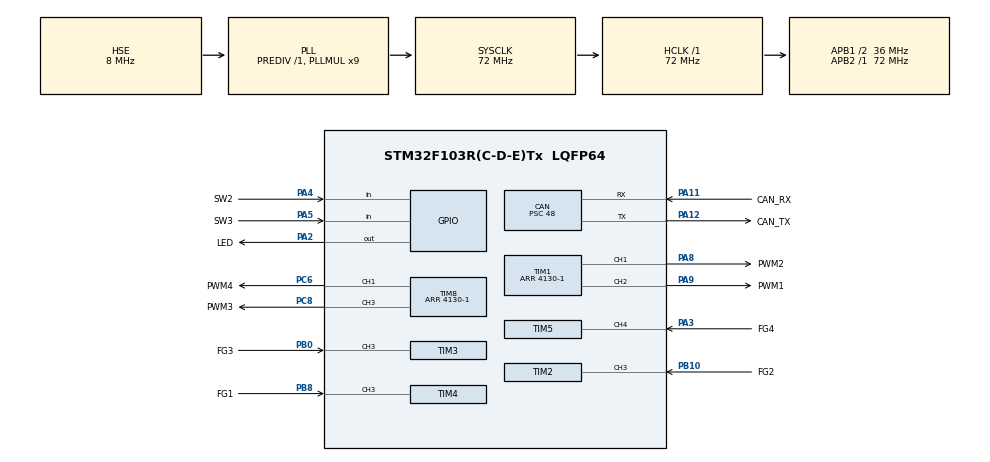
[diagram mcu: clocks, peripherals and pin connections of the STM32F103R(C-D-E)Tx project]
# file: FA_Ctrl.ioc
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CAN.BS1=CAN_BS1_2TQ
CAN.BS2=CAN_BS2_3TQ
CAN.CalculateBaudRate=124999
CAN.CalculateTimeBit=8000
CAN.CalculateTimeQuantum=1333.3333333333335
CAN.Prescaler=48
CAN.SJW=CAN_SJW_2TQ
CAN.TXFP=DISABLE
Mcu.Family=STM32F1
Mcu.Name=STM32F103R(C-D-E)Tx
Mcu.Package=LQFP64
NVIC.PriorityGroup=NVIC_PRIORITYGROUP_3
NVIC.TIM2_IRQn=true\:1\:0\:true\:false\:true\:true\:false\:true
NVIC.TIM3_IRQn=true\:1\:0\:true\:false\:true\:true\:false\:true
NVIC.TIM4_IRQn=true\:1\:0\:true\:false\:true\:true\:false\:true
NVIC.TIM5_IRQn=true\:1\:0\:true\:false\:true\:true\:false\:true
NVIC.TIM6_IRQn=true\:2\:0\:true\:false\:true\:true\:false\:true
PA11.GPIO_Label=CAN_RX
PA11.Mode=CAN_Activate
PA11.Signal=CAN_RX
PA12.GPIO_Label=CAN_TX
PA12.Mode=CAN_Activate
PA12.Signal=CAN_TX
PA13.Mode=Serial_Wire
PA13.Signal=SYS_JTMS-SWDIO
PA14.Mode=Serial_Wire
PA14.Signal=SYS_JTCK-SWCLK
PA2.GPIO_Label=LED
PA2.GPIO_PuPd=GPIO_PULLUP
PA2.PinState=GPIO_PIN_SET
PA2.Signal=GPIO_Output
PA3.GPIO_Label=FG4
PA3.Signal=S_TIM5_CH4
PA4.GPIO_Label=SW2
PA4.Signal=GPIO_Input
PA5.GPIO_Label=SW3
PA5.Signal=GPIO_Input
PA8.GPIO_Label=PWM2
PA8.GPIO_Speed=GPIO_SPEED_FREQ_HIGH
PA8.Signal=S_TIM1_CH1
PA9.GPIO_Label=PWM1
PA9.GPIO_Speed=GPIO_SPEED_FREQ_HIGH
PA9.Signal=S_TIM1_CH2
PB0.GPIO_Label=FG3
PB0.Signal=S_TIM3_CH3
PB10.GPIO_Label=FG2
PB10.Signal=S_TIM2_CH3
PB8.GPIO_Label=FG1
PB8.Signal=S_TIM4_CH3
PC6.GPIO_Label=PWM4
PC6.GPIO_Speed=GPIO_SPEED_FREQ_HIGH
PC6.Signal=S_TIM8_CH1
PC8.GPIO_Label=PWM3
PC8.GPIO_Speed=GPIO_SPEED_FREQ_HIGH
PC8.Signal=S_TIM8_CH3
PD0-OSC_IN.Mode=HSE-External-Oscillator
PD0-OSC_IN.Signal=RCC_OSC_IN
PD1-OSC_OUT.Mode=HSE-External-Oscillator
PD1-OSC_OUT.Signal=RCC_OSC_OUT
ProjectManager.HeapSize=0x200
ProjectManager.StackSize=0x400
ProjectManager.TargetToolchain=CMake
RCC.AHBFreq_Value=72000000
RCC.APB1CLKDivider=RCC_HCLK_DIV2
RCC.APB1Freq_Value=36000000
RCC.APB1TimFreq_Value=72000000
RCC.APB2Freq_Value=72000000
RCC.APB2TimFreq_Value=72000000
RCC.HCLKFreq_Value=72000000
RCC.PLLMUL=RCC_PLL_MUL9
RCC.PLLSourceVirtual=RCC_PLLSOURCE_HSE
RCC.SYSCLKFreq_VALUE=72000000
RCC.SYSCLKSource=RCC_SYSCLKSOURCE_PLLCLK
RCC.USBFreq_Value=72000000
SH.S_TIM1_CH1.0=TIM1_CH1,PWM Generation1 CH1
SH.S_TIM1_CH2.0=TIM1_CH2,PWM Generation2 CH2
SH.S_TIM2_CH3.0=TIM2_CH3,Input_Capture3_from_TI3
SH.S_TIM3_CH3.0=TIM3_CH3,Input_Capture3_from_TI3
SH.S_TIM4_CH3.0=TIM4_CH3,Input_Capture3_from_TI3
SH.S_TIM5_CH4.0=TIM5_CH4,Input_Capture4_from_TI4
SH.S_TIM8_CH1.0=TIM8_CH1,PWM Generation1 CH1
SH.S_TIM8_CH3.0=TIM8_CH3,PWM Generation3 CH3
TIM1.Channel-PWM\ Generation1\ CH1=TIM_CHANNEL_1
TIM1.Channel-PWM\ Generation2\ CH2=TIM_CHANNEL_2
TIM1.OCFastMode_PWM-PWM\ Generation1\ CH1=TIM_OCFAST_DISABLE
TIM1.OCFastMode_PWM-PWM\ Generation2\ CH2=TIM_OCFAST_DISABLE
TIM1.OCMode_PWM-PWM\ Generation1\ CH1=TIM_OCMODE_PWM2
TIM1.OCMode_PWM-PWM\ Generation2\ CH2=TIM_OCMODE_PWM2
TIM1.Period=4130-1
TIM2.Channel-Input_Capture3_from_TI3=TIM_CHANNEL_3
TIM2.ICFilter_CH3=4
TIM2.Prescaler=6-1
TIM3.Channel-Input_Capture3_from_TI3=TIM_CHANNEL_3
TIM3.ICFilter_CH3=5
TIM3.Prescaler=6-1
TIM4.Channel-Input_Capture3_from_TI3=TIM_CHANNEL_3
TIM4.ICFilter_CH3=5
TIM4.Prescaler=6-1
TIM5.Channel-Input_Capture4_from_TI4=TIM_CHANNEL_4
TIM5.ICFilter_CH4=5
TIM5.Prescaler=6-1
TIM6.AutoReloadPreload=TIM_AUTORELOAD_PRELOAD_ENABLE
TIM6.Period=2000-1
TIM6.Prescaler=7200-1
TIM8.Channel-PWM\ Generation1\ CH1=TIM_CHANNEL_1
TIM8.Channel-PWM\ Generation3\ CH3=TIM_CHANNEL_3
TIM8.OCFastMode_PWM-PWM\ Generation1\ CH1=TIM_OCFAST_DISABLE
TIM8.OCFastMode_PWM-PWM\ Generation3\ CH3=TIM_OCFAST_DISABLE
TIM8.OCMode_PWM-PWM\ Generation1\ CH1=TIM_OCMODE_PWM2
TIM8.OCMode_PWM-PWM\ Generation3\ CH3=TIM_OCMODE_PWM2
TIM8.Period=4130-1
VP_TIM1_VS_ClockSourceINT.Mode=Internal
VP_TIM2_VS_ClockSourceINT.Mode=Internal
VP_TIM3_VS_ClockSourceINT.Mode=Internal
VP_TIM4_VS_ClockSourceINT.Mode=Internal
VP_TIM5_VS_ClockSourceINT.Mode=Internal
VP_TIM6_VS_ClockSourceINT.Mode=Enable_Timer
VP_TIM8_VS_ClockSourceINT.Mode=Internal
board=custom

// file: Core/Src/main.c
/* USER CODE BEGIN Header */
/**
  ******************************************************************************
  * @file           : main.c
  * @brief          : Main program body
  ******************************************************************************
  * @attention
  *
  * Copyright (c) 2025 STMicroelectronics.
  * All rights reserved.
  *
  * This software is licensed under terms that can be found in the LICENSE file
  * in the root directory of this software component.
  * If no LICENSE file comes with this software, it is provided AS-IS.
  *
  ******************************************************************************
  */
/* USER CODE END Header */
#include "main.h"
#include "can.h"
#include "tim.h"
#include "gpio.h"

/* USER CODE BEGIN Includes */
#include "bsp_pid.h"
#include "control.h"
#include "sin_control.h"
#include "save_flash.h"
#include <string.h>
#include "OLED.h"
/* USER CODE END Includes */

/* USER CODE BEGIN PTD */
SysState Sys_State;
SysPara Sys_Para;
CtrlPara Ctrl_Para;
CANPara CAN_Para;
CANData CAN_Data;
TrackCurvePara TrackCurve_Para;
TrackCurveData TrackCurve_Data;
TrackCurveData* TrackCurve_Data_p = &TrackCurve_Data;
PidPara_base pid_para_base;//pid基础参数
bool oled_init = true;//第一次调用或更改模式时，重写oled屏幕背景内容
/* USER CODE END PTD */

void SystemClock_Config(void);
/* USER CODE BEGIN PFP */
static void Para_init(void); //初始化结构体参数
static void key_process_idsetting(uint8_t keystate); //按键扫描与处理函数
static void key_process_motortest(uint8_t keystate); //按键扫描与处理函数
static void key_process_cantest(uint8_t keystate); //按键扫描与处理函数
//void RunMode_Switch(SM_SysRunMode run_mode);//系统运行状态切换
/* USER CODE END PFP */

int main(void)
{

  /* MCU Configuration--------------------------------------------------------*/

  /* Reset of all peripherals, Initializes the Flash interface and the Systick. */
  HAL_Init();

  /* Configure the system clock */
  SystemClock_Config();

  /* Initialize all configured peripherals */
  MX_GPIO_Init();
  MX_TIM1_Init();
  MX_TIM8_Init();
  MX_TIM2_Init();
  MX_TIM3_Init();
  MX_TIM4_Init();
  MX_TIM5_Init();
  MX_TIM6_Init();
  MX_CAN_Init();
  /* USER CODE BEGIN 2 */
	PID_param_init();//初始化pid参数
	OLED_Init();
	OLED_Clear();
	Para_init();//初始化系统参数
	Start_Timer();
	HAL_CAN_Start(&hcan);//使能can
	//__HAL_UART_ENABLE_IT(&huart3,UART_IT_RXNE);
	RunMode_Switch(S_Wait);//初始状态设为“wait”

	uint8_t KeyState = 0;

  /* USER CODE END 2 */

  /* Infinite loop */
  /* USER CODE BEGIN WHILE */
	while (1)
	{
		if (Sys_Para.enable_key)
		{
			KeyState = Key_GetState();
			switch (Sys_State.manu)
			{
			case id_setting:
				key_process_idsetting(KeyState);
				break;
			case fan_test:
				key_process_motortest(KeyState);
				break;
			case can_test:
				key_process_cantest(KeyState);
				break;
			case para_setting:
				//todo:参数设定
				break;
			default:
				break;
			}
		}

		/* FIFO0扫描接收 */
		CAN_Para.PendingMsg = HAL_CAN_GetRxFifoFillLevel(&hcan, CAN_RX_FIFO0);
		while (CAN_Para.PendingMsg > 0)
		{
			if (HAL_CAN_GetRxMessage(&hcan, CAN_RX_FIFO0, &CAN_Data.can_RxHeader, CAN_Data.RxData) == HAL_OK) //接收成功
			{
				uint8_t cmd_main = CAN_Data.can_RxHeader.StdId & 0x0000000F; //主指令类型（4bit），截掉id，因为id是变量
				uint16_t cmd_sub; //子指令类型
				if (Sys_State.manu == can_test)
				{
					OLED_ShowHexNum(1, 1, CAN_Data.can_RxHeader.StdId, 3);//打印id
					//OLED_ShowNum(1, 9, CAN_Data.can_RxHeader.DLC , 1);//打印DLC
					/*uint32_t RawData;//原始数据
					memcpy(&RawData, &CAN_Data.RxData[0], 4);
					OLED_ShowHexNum(2, 1, RawData, 8);//打印原始data1
					memcpy(&RawData, &CAN_Data.RxData[4], 4);
					OLED_ShowHexNum(2, 9, RawData, 8);//打印原始data2*/
				}
				HAL_GPIO_TogglePin(LED_GPIO_Port, LED_Pin);
				switch (cmd_main)
				{
				/*复位、启停*/
				case 0x01:
					memcpy(&cmd_sub, &CAN_Data.RxData[0], 2);//cmd是数据段2字节
					switch (cmd_sub)
					{
					case 0x000: //复位
						HAL_NVIC_SystemReset();
						break;
					case 0x001: //风机停止
						RunMode_Switch(S_Wait);
						break;
					case 0x002: //风机启动
						RunMode_Switch(S_NormRuning);
						break;
					default:
						break;
					}
					break;
				/*使能/失能、保存参数*/
				case 0x02: //
					memcpy(&cmd_sub, &CAN_Data.RxData[0], 2);//cmd是数据段2字节
					switch (cmd_sub)
					{
					case 0x003: //pid关闭
					case 0x004: //pid启动
						RunMode_Switch(S_Wait);//停机，这时oled上pid显示是相反的
						Ctrl_Para.enable_pid[0] = cmd_sub - 3;//pid总使能位赋值
						break;
					case 0x005: //失能跟踪曲线
					case 0x006: //使能跟踪曲线
						TrackCurve_Para.enable_TrackCurve = cmd_sub - 5;
						if (TrackCurve_Para.enable_TrackCurve)
						{
							RunMode_Switch(S_TrackingCurve);
						}
						else
						{
							RunMode_Switch(S_Wait);
						}
						break;
					case 0x007: //保存参数
						if (Flash_SaveSysPara(&Sys_Para, &pid_para_base) == HAL_OK)
						{
							OLED_ShowString(4, 7, "S_OK");
						}
						else
						{
							MyCAN_Transmit_enum(TX_Err_SavePara);
							OLED_ShowString(4, 7, "S_ER");
						}
						break;
					case 0x008: //上传一次本机状态
						MyCAN_Transmit_enum(TX_SYSPara);
						break;
					case 0x009: //使能上传转速
						Sys_Para.enable_send = !Sys_Para.enable_send;
						break;
					case 0x00A://使能oled显示
						Sys_Para.enable_OLED = !Sys_Para.enable_OLED;
						break;
					case 0x00B:
						Sys_Para.enable_key = !Sys_Para.enable_key;
					default:
						break;
					}
					break;
				/*目标转速首帧、尾帧*/
				case 0x03: //1、2目标转速
					for (int i = 0; i < 2; i++)
					{
						memcpy(&Ctrl_Para.rpm_want[i], &CAN_Data.RxData[i * 4], 4);
					}
					break;
				case 0x04: //3、4目标转速
					for (int i = 0; i < 2; i++)
					{
						memcpy(&Ctrl_Para.rpm_want[i + 2], &CAN_Data.RxData[i * 4], 4);
					}
					for (int i = 0; i < 3; i++)
					{
						OLED_ShowNum(2, 1 + i * 5, (uint32_t)(Ctrl_Para.rpm_want[i] * 10), 5);
					}
					break;
				/*跟踪曲线相位*/
				case 0x0A: //1、2相位
					for (int i = 0; i < 2; i++)
					{
						memcpy(&TrackCurve_Data.phase[i], &CAN_Data.RxData[i * 4], 4);
					}
					break;
				case 0x0B: //3、4相位
					for (int i = 0; i < 2; i++)
					{
						memcpy(&TrackCurve_Data.phase[i + 2], &CAN_Data.RxData[i * 4], 4);
					}
					for (int i = 0; i < 3; i++)
					{
						OLED_ShowNum(2, 1 + i * 5, (uint32_t)(TrackCurve_Data.phase[i] * 10), 5);
					}
					break;
				default:
					break;
				}
			}
			else //接收错误
			{
				MyCAN_Transmit_enum(TX_Err_CAN);
				HAL_GPIO_TogglePin(LED_GPIO_Port, LED_Pin);
				HAL_Delay(500);
				HAL_GPIO_TogglePin(LED_GPIO_Port, LED_Pin);
				HAL_Delay(500);
				HAL_GPIO_TogglePin(LED_GPIO_Port, LED_Pin);
			}
			CAN_Para.PendingMsg--;
		}

		/* FIFO1扫描接收 */
		CAN_Para.PendingMsg = HAL_CAN_GetRxFifoFillLevel(&hcan, CAN_RX_FIFO1);
		while (CAN_Para.PendingMsg > 0)
		{
			if (HAL_CAN_GetRxMessage(&hcan, CAN_RX_FIFO1, &CAN_Data.can_RxHeader, CAN_Data.RxData) == HAL_OK) //接收成功
			{
				HAL_GPIO_TogglePin(LED_GPIO_Port, LED_Pin);
				static uint16_t num_data_received = 0; //当前收到的有效数据量
				switch (CAN_Data.can_RxHeader.StdId)
				{
				case 0x006: //curve首帧
					{
						RunMode_Switch(S_Wait);//停机，等待数据接收完毕
						memcpy(&TrackCurve_Data.num_data, CAN_Data.RxData, 2); //采样点个数
						memcpy(&TrackCurve_Data.sample_time, &CAN_Data.RxData[2], 2); //采样时间ms
						memcpy(&TrackCurve_Para.curve_type, &CAN_Data.RxData[4], 1); //曲线类型
						memset(&TrackCurve_Data.curve_data, 0xF, sizeof(TrackCurve_Data.curve_data)); //初始化接收缓冲区
						TrackCurve_Para.is_assembling = true; //接收中标志位
						break;
					}
				case 0x007: //curve中间帧
					{
						/*if (!TrackCurve_Para.is_assembling)
						{
							MyCAN_Transmit_enum(TX_Err_RXTrackData); //未接收首帧，请求重收
							break;
						}*/
						memcpy(&TrackCurve_Data.curve_data[num_data_received], CAN_Data.RxData, 2); //
						memcpy(&TrackCurve_Data.curve_data[num_data_received + 1], &CAN_Data.RxData[2], 2); //
						memcpy(&TrackCurve_Data.curve_data[num_data_received + 2], &CAN_Data.RxData[4], 2); //
						memcpy(&TrackCurve_Data.curve_data[num_data_received + 3], &CAN_Data.RxData[6], 2); //
						num_data_received += 4;
						break;
					}
				case 0x008: //curve尾帧
					{
						//数据完整性判断
						if (num_data_received - TrackCurve_Data.num_data <= 1)
						{
							TrackCurve_Para.is_assembling = false;
							TrackCurve_Data.call_num = (uint16_t)(TrackCurve_Data.sample_time / Sys_Para.timer_ctrl_T); //计算定时器溢出多少次触发更新
							RunMode_Switch(S_Wait);
							if (Sys_State.manu == can_test)
							{
								OLED_Clear();
								for (int i = 0; i < 4; i++)
								{
									for (int j = 0; j < 4; j++)
									{
										OLED_ShowNum(1 + i, 1 + j * 4, TrackCurve_Data.curve_data[i * 4 + j], 4);
									}
								}
							}
						}
						else
						{
							MyCAN_Transmit_enum(TX_Err_RXTrackData); //数据缺失，请求重收
						}
						break;
					}
				/*pid参数*/
				case 0x009:
					{
						static uint8_t rxcount_pid = 0; //接收到的帧个数
						rxcount_pid += 1;
						if (rxcount_pid == 1) //第一帧
						{
							RunMode_Switch(S_Wait);
							//memcpy(&Sys_Para.timer_pwm_ARR, &CAN_Data.RxData[0], 2); //pwm计数器ARR
							memcpy(&Sys_Para.timer_ctrl_T, &CAN_Data.RxData[2], 2); //采样时间
							SamplingTime_Modify(Sys_Para.timer_ctrl_T, 0);	//更新采样时间
							for (int i = 0; i < 4; i++)
							{
								memcpy(&pid_para_base.Kp, &CAN_Data.RxData[4], 4); //p
							}
						}
						else //第二帧
						{
							for (int i = 0; i < 4; i++)
							{
								memcpy(&pid_para_base.Ki, CAN_Data.RxData, 4); //i
								memcpy(&pid_para_base.Kd, &CAN_Data.RxData[4], 4); //d
								pid_para[i].Kp = pid_para_base.Kp;
								pid_para[i].Ki = pid_para_base.Ki;
								pid_para[i].Kd = pid_para_base.Kd;
							}
							rxcount_pid = 0;
							if (Sys_State.manu == para_setting)
							{
								OLED_ShowString(2, 5, "|    |");
								OLED_ShowNum(2, 1, (uint16_t)(pid_para[0].Kp * 1000.0f), 4);
								OLED_ShowNum(2, 6, (uint16_t)(pid_para[0].Ki * 1000.0f), 4);
								OLED_ShowNum(2, 11, (uint16_t)(pid_para[0].Kd * 1000.0f), 4);
							}
						}
						break;
					}
				default:
					break;
				}
			}
			else //接收错误
			{
				MyCAN_Transmit_enum(TX_Err_CAN);
				HAL_GPIO_TogglePin(LED_GPIO_Port,LED_Pin);
				HAL_Delay(500);
				HAL_GPIO_TogglePin(LED_GPIO_Port,LED_Pin);
			}
			CAN_Para.PendingMsg--;
		}
    /* USER CODE END WHILE */

  }
}

void SystemClock_Config(void)
{
  RCC_OscInitTypeDef RCC_OscInitStruct = {0};
  RCC_ClkInitTypeDef RCC_ClkInitStruct = {0};

  /** Initializes the RCC Oscillators according to the specified parameters
  * in the RCC_OscInitTypeDef structure.
  */
  RCC_OscInitStruct.OscillatorType = RCC_OSCILLATORTYPE_LSI|RCC_OSCILLATORTYPE_HSE;
  RCC_OscInitStruct.HSEState = RCC_HSE_ON;
  RCC_OscInitStruct.HSEPredivValue = RCC_HSE_PREDIV_DIV1;
  RCC_OscInitStruct.HSIState = RCC_HSI_ON;
  RCC_OscInitStruct.LSIState = RCC_LSI_ON;
  RCC_OscInitStruct.PLL.PLLState = RCC_PLL_ON;
  RCC_OscInitStruct.PLL.PLLSource = RCC_PLLSOURCE_HSE;
  RCC_OscInitStruct.PLL.PLLMUL = RCC_PLL_MUL9;
  if (HAL_RCC_OscConfig(&RCC_OscInitStruct) != HAL_OK)
  {
    Error_Handler();
  }

  /** Initializes the CPU, AHB and APB buses clocks
  */
  RCC_ClkInitStruct.ClockType = RCC_CLOCKTYPE_HCLK|RCC_CLOCKTYPE_SYSCLK
                              |RCC_CLOCKTYPE_PCLK1|RCC_CLOCKTYPE_PCLK2;
  RCC_ClkInitStruct.SYSCLKSource = RCC_SYSCLKSOURCE_PLLCLK;
  RCC_ClkInitStruct.AHBCLKDivider = RCC_SYSCLK_DIV1;
  RCC_ClkInitStruct.APB1CLKDivider = RCC_HCLK_DIV2;
  RCC_ClkInitStruct.APB2CLKDivider = RCC_HCLK_DIV1;

  if (HAL_RCC_ClockConfig(&RCC_ClkInitStruct, FLASH_LATENCY_2) != HAL_OK)
  {
    Error_Handler();
  }
}

/* USER CODE BEGIN 4 */
//系统参数配置
void Para_init(void)
{
	if (!Flash_LoadSysPara(&Sys_Para, &pid_para_base)) //读取flash,若失败则使用默认参数
	{
		/*基本变量*/
		Sys_State.RunMode = S_Wait;
		Sys_State.manu = id_setting;
		Sys_Para.ID_Thisboard = 0x00000003;
		//Sys_Para.Speed_MX_Fan = 17500;
		Sys_Para.enable_send = false;
		Sys_Para.enable_OLED = true;
		Sys_Para.enable_key = true;
		Sys_Para.enable_pid = false;
		Sys_Para.timer_ctrl_T = 200;//200ms
		Sys_Para.timer_fg_f = 12;//mhz
		//Sys_Para.timer_pwm_ARR = 4130;
		/*pid相关变量*/
		pid_para_base.Kp = 0.1f;
		pid_para_base.Ki = 0.035f;
		pid_para_base.Kd = 0.27f;
		set_p_i_d(pid_para_base.Kp, pid_para_base.Ki, pid_para_base.Kd);
		Ctrl_Para.enable_pid[0] = Sys_Para.enable_pid;
		MyCAN_Transmit_enum(TX_Err_SavePara);
	}
	/*CAN相关变量*/
	filter_init();//配置滤波器
	CAN_Para.PendingMsg = 0;
	/*跟踪曲线相关变量*//*系统相关变量*/
}
//状态切换
void RunMode_Switch(SM_SysRunMode run_mode)
{
	HAL_GPIO_TogglePin(LED_GPIO_Port,LED_Pin);
	switch (run_mode)
	{
	case S_Wait://停机等待，进行数据接收等
		for (int i = 0; i < 4; i++)
		{
			Ctrl_Para.enable_fan[i] = false;
			set_rpm_incloseloopmode(i, 0);//目标转速置0
		}
		OLED_ShowString(4, 1, "wait ");
		OLED_ShowNum(4, 5, Ctrl_Para.enable_pid[0], 1);//0==开环，1==闭环
		break;
	case S_NormRuning://风机正常运行-开闭环。要提前配置rpm_want&pid
		OLED_ShowString(4, 1, "norm ");
		OLED_ShowNum(4, 5, Ctrl_Para.enable_pid[0], 1);//0==开环，1==闭环
		for (int i = 0; i < 4; i++)
		{
			set_rpm_incloseloopmode(i, (float)Ctrl_Para.rpm_want[i]);//传入目标转速
		}
		for (int i = 0; i < 4; i++)
		{
			Ctrl_Para.enable_fan[i] = true;
		}
		break;
	case S_TrackingCurve://跟踪曲线模式
		OLED_ShowString(4, 1, "track");
		break;
	default:
		break;
	}
	Sys_State.RunMode = run_mode;
}
/*按键处理 —— 设定本机id*/
void key_process_idsetting(uint8_t keystate)
{
	if (oled_init)
	{
		OLED_Clear();
		OLED_ShowString(1, 1, "MAX:");OLED_ShowString(1, 10, "| ID:");
		OLED_ShowHexNum(1, 15, Sys_Para.ID_Thisboard, 2);
		OLED_ShowNum(1, 5, FANSPEED_MAX, 5);
		OLED_ShowString(2, 5, "|    |");
		OLED_ShowNum(2, 1, (uint32_t)(pid_para[3].Kp*1000),4);
		OLED_ShowNum(2, 6, (uint32_t)(pid_para[3].Ki*1000),4);
		OLED_ShowNum(2, 11, (uint32_t)(pid_para[3].Kd*1000),4);
		OLED_ShowString(4, 1, "wait");OLED_ShowString(4, 6, "|S_id|");OLED_ShowString(4, 15, "ms");
		OLED_ShowNum(4, 12, Sys_Para.timer_ctrl_T, 3);
		oled_init = false;
	}
	switch (keystate)
	{
	case SW2_SINGLE_CLICK: //+1
		HAL_GPIO_TogglePin(LED_GPIO_Port, LED_Pin);
		Sys_Para.ID_Thisboard += 1;
		break;
	case SW2_LONG_PRESS: //+10
		HAL_GPIO_TogglePin(LED_GPIO_Port, LED_Pin);
		Sys_Para.ID_Thisboard += 10;
		break;
	case SW3_SINGLE_CLICK: //-1
		HAL_GPIO_TogglePin(LED_GPIO_Port, LED_Pin);
		if (Sys_Para.ID_Thisboard >= 1)
		{
			Sys_Para.ID_Thisboard -= 1;
		}
		else
		{
			break;
		}
		break;
	case SW3_LONG_PRESS: //-10
		HAL_GPIO_TogglePin(LED_GPIO_Port, LED_Pin);
		if (Sys_Para.ID_Thisboard >= 10)
		{
			Sys_Para.ID_Thisboard -= 10;
		}
		else
		{
			break;
		}
		break;
	case SW3_LONGLONG_PRESS: //重新配置can并保存到flash
		{
			uint8_t result_sw3 = 0;
			result_sw3 = HAL_CAN_Stop(&hcan);
			if (result_sw3 == HAL_OK)
			{
				filter_init();
				HAL_CAN_Start(&hcan);
			}
			else
			{
				OLED_ShowNum(4, 7, result_sw3, 1);
				break;
			}
			result_sw3 = (Flash_SaveSysPara(&Sys_Para, &pid_para_base));
			if (result_sw3 == HAL_OK)
			{
				OLED_ShowString(4, 7, "S_OK");
			}
			else
			{
				OLED_ShowNum(4, 7, result_sw3, 1);
				// OLED_ShowString(4, 7, "S_ER");
			}
			break;
		}
	default:
		return;
	}
	OLED_ShowHexNum(1, 15, Sys_Para.ID_Thisboard, 2);
}
/*按键处理 —— 电机测试*/
void key_process_motortest(uint8_t keystate)
{
	if (oled_init)
	{
		OLED_Clear();
		OLED_ShowString(4, 1, "wait |Tctr|");
		oled_init = false;
	}
	switch (keystate)
	{
	case SW2_SINGLE_CLICK://停机
		RunMode_Switch(S_Wait);
		for (int i = 0; i < 4; i++)
		{
			Ctrl_Para.rpm_want[i] = 0;
			OLED_ShowNum(2, 1 + i * 4, (uint32_t)Ctrl_Para.rpm_want[i], 4);
		}
		HAL_GPIO_TogglePin(LED_GPIO_Port, LED_Pin);
		break;
	case SW2_LONG_PRESS: //开闭环切换
		{
			static bool mode_control = 0;
			RunMode_Switch(S_Wait); //停机
			Ctrl_Para.enable_pid[0] = mode_control; //pid总使能位赋值
			mode_control = !mode_control;
			RunMode_Switch(S_Wait); //停机，并更新开闭环
			break;
			HAL_GPIO_TogglePin(LED_GPIO_Port, LED_Pin);
		}
		break;
	case SW3_SINGLE_CLICK: //转速-
		for (int i = 0; i < 4; i++)
		{
			Ctrl_Para.rpm_want[i] -= 1000;
			OLED_ShowNum(2, 1 + i * 4, (uint32_t)Ctrl_Para.rpm_want[i], 4);
		}
		RunMode_Switch(S_NormRuning);
		HAL_GPIO_TogglePin(LED_GPIO_Port,LED_Pin);
		break;
	case SW3_LONG_PRESS:
		for (int i = 0; i < 4; i++)
		{
			Ctrl_Para.rpm_want[i] += 1000;
			OLED_ShowNum(2, 1 + i * 4, (uint32_t)Ctrl_Para.rpm_want[i], 4);
		}
		RunMode_Switch(S_NormRuning);
		HAL_GPIO_TogglePin(LED_GPIO_Port,LED_Pin);
		break;
	default:
		break;
	}
}
/*按键处理 —— CAN通讯测试*/
void key_process_cantest(uint8_t keystate)
{
	if (oled_init)
	{
		OLED_Clear();
		OLED_ShowString(1, 1, " id|");
		OLED_ShowString(2, 1,"---data(hex)----");
		OLED_ShowString(4, 1, "wait |Tcan|");
		oled_init = false;
	}
	float temp_cantx = 15222.2f;
	float temp_cantx2 = 8990.1f;
	switch (keystate)
	{
	case SW2_SINGLE_CLICK:
		MyCAN_Transmit_RPM((uint16_t)temp_cantx, (uint16_t)temp_cantx2, 1231,1200, 1);
		//yCAN_Transmit_RPM(3000, 4000, 5000,6000, 3);
		HAL_GPIO_TogglePin(LED_GPIO_Port, LED_Pin);
		OLED_ShowString(4, 7, "trpm");
		break;
	case SW2_LONG_PRESS:
		MyCAN_Transmit_enum(TX_Err_RXTrackData);
		HAL_GPIO_TogglePin(LED_GPIO_Port, LED_Pin);
		OLED_ShowString(4, 7, "terr");
		break;
	case SW3_LONG_PRESS:
		MyCAN_Transmit_enum(TX_Heartbeat);
		HAL_GPIO_TogglePin(LED_GPIO_Port, LED_Pin);
		OLED_ShowString(4, 7, "tbeat");
		break;
	default:
		break;
	}
}

/* USER CODE END 4 */

void Error_Handler(void)
{
  __disable_irq();
  while (1)
  {
  }
}
